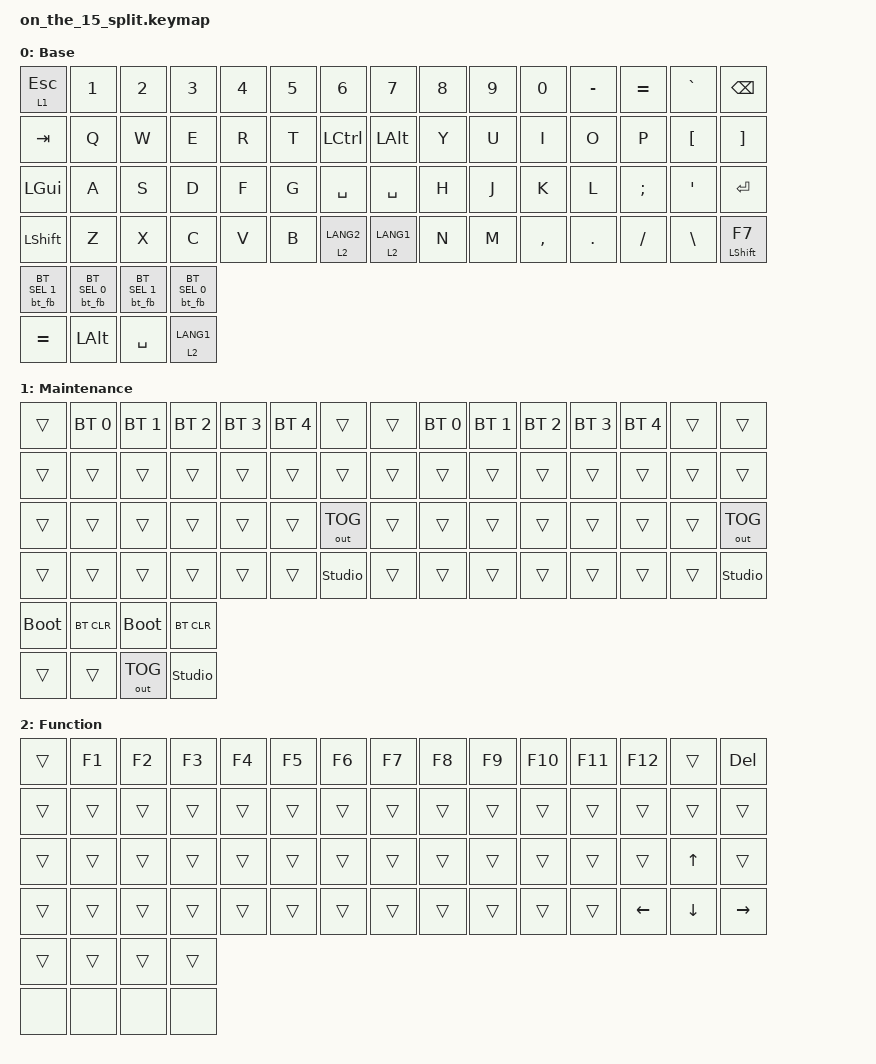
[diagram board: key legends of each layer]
/* Personal Studio-enabled stock keymap for the default x7-left/x8-right split. */

#include <behaviors.dtsi>
#include <dt-bindings/zmk/bt.h>
#include <dt-bindings/zmk/keys.h>
#include <dt-bindings/zmk/outputs.h>

/ {
    behaviors {
        bt_fb: bluetooth_feedback {
            compatible = "onthe15,behavior-bt-feedback";
            #binding-cells = <2>;
            display-name = "Bluetooth Feedback";
        };
    };

    keymap {
        compatible = "zmk,keymap";

        default_layer {
            display-name = "Base";
            bindings = <
&lt 1 ESC &kp N1 &kp N2 &kp N3 &kp N4 &kp N5 &kp N6  &kp N7 &kp N8 &kp N9 &kp N0 &kp MINUS &kp EQUAL &kp GRAVE &kp BSPC
&kp TAB &kp Q &kp W &kp E &kp R &kp T &kp LCTRL  &kp LALT &kp Y &kp U &kp I &kp O &kp P &kp LBKT &kp RBKT
&kp LGUI &kp A &kp S &kp D &kp F &kp G &kp SPACE  &kp SPACE &kp H &kp J &kp K &kp L &kp SEMI &kp SQT &kp ENTER
&kp LSHFT &kp Z &kp X &kp C &kp V &kp B &lt 2 LANG2  &lt 2 LANG1 &kp N &kp M &kp COMMA &kp DOT &kp FSLH &kp BSLH &mt LSHFT F7
&bt_fb BT_SEL 1 &bt_fb BT_SEL 0 &bt_fb BT_SEL 1 &bt_fb BT_SEL 0
&kp EQUAL &kp LALT &kp SPACE &lt 2 LANG1
            >;
        };

        maintenance_layer: maintenance_layer {
            display-name = "Maintenance";
            bindings = <
&trans &bt BT_SEL 0 &bt BT_SEL 1 &bt BT_SEL 2 &bt BT_SEL 3 &bt BT_SEL 4 &trans &trans &bt BT_SEL 0 &bt BT_SEL 1 &bt BT_SEL 2 &bt BT_SEL 3 &bt BT_SEL 4 &trans &trans
&trans &trans &trans &trans &trans &trans &trans  &trans &trans &trans &trans &trans &trans &trans &trans
&trans &trans &trans &trans &trans &trans &out OUT_TOG  &trans &trans &trans &trans &trans &trans &trans &out OUT_TOG
&trans &trans &trans &trans &trans &trans &studio_unlock  &trans &trans &trans &trans &trans &trans &trans &studio_unlock
&bootloader &bt BT_CLR &bootloader &bt BT_CLR
&trans &trans &out OUT_TOG &studio_unlock
            >;
        };

        function_layer {
            display-name = "Function";
            bindings = <
&trans &kp F1 &kp F2 &kp F3 &kp F4 &kp F5 &kp F6  &kp F7 &kp F8 &kp F9 &kp F10 &kp F11 &kp F12 &trans &kp DEL
&trans &trans &trans &trans &trans &trans &trans  &trans &trans &trans &trans &trans &trans &trans &trans
&trans &trans &trans &trans &trans &trans &trans  &trans &trans &trans &trans &trans &trans &kp UP &trans
&trans &trans &trans &trans &trans &trans &trans  &trans &trans &trans &trans &trans &kp LEFT &kp DOWN &kp RIGHT
&trans &trans &trans &trans
&none &none &none &none
            >;
        };
    };
};
